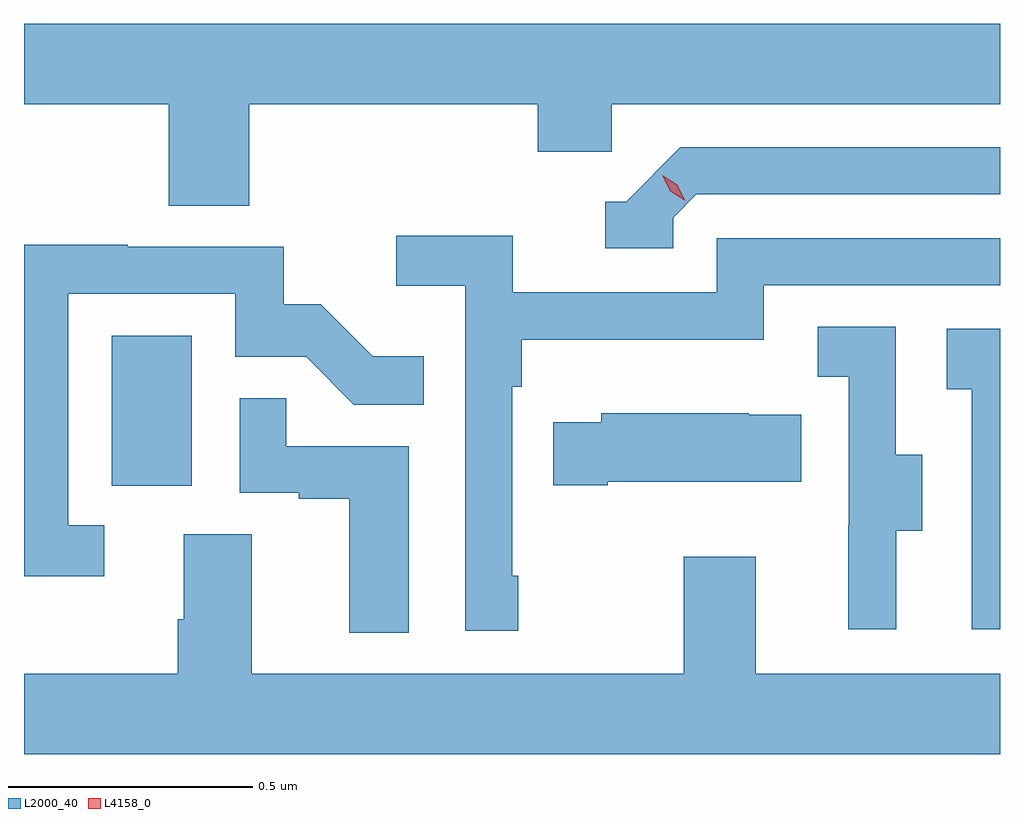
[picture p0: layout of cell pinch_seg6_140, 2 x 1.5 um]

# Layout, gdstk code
import gdstk
lib = gdstk.Library(unit=1e-6, precision=1e-09)
def R(c, l, rs):  # rectangles x0, y0, x1, y1
    for r in rs: c.add(gdstk.rectangle(r[:2], r[2:], *l))
def P(c, l, *ps):  # polygons
    for p in ps: c.add(gdstk.Polygon(p, *l))
L2000_40 = (2000, 40)
L4158_0 = (4158, 0)

pinch_seg6_140 = lib.new_cell('pinch_seg6_140')
R(pinch_seg6_140, L2000_40, [(986.276,918.582,986.44,918.889)])
P(pinch_seg6_140, L2000_40, [(986.558,919.364),(987.149,919.364),(987.149,919.266),(987.3,919.266),(987.3,919.364),(988.096,919.364),(988.096,919.528),(986.096,919.528),(986.096,919.364),(986.393,919.364),(986.393,919.156),(986.558,919.156)],
  [(987.426,919.131),(987.474,919.179),(988.096,919.179),(988.096,919.275),(987.441,919.275),(987.33,919.164),(987.287,919.164),(987.287,919.068),(987.426,919.068)],
  [(987.109,918.397),(987.096,918.397),(987.096,918.785),(987.116,918.785),(987.116,918.881),(987.612,918.881),(987.612,918.993),(988.096,918.993),(988.096,919.089),(987.516,919.089),(987.516,918.978),(987.098,918.978),(987.098,919.094),(986.859,919.094),(986.859,918.992),(987,918.992),(987,918.285),(987.109,918.285)],
  [(986.26,918.501),(986.187,918.501),(986.187,918.975),(986.529,918.975),(986.529,918.846),(986.674,918.846),(986.772,918.748),(986.915,918.748),(986.915,918.847),(986.811,918.847),(986.704,918.954),(986.628,918.954),(986.628,919.071),(986.309,919.071),(986.309,919.076),(986.096,919.076),(986.096,918.396),(986.26,918.396)],
  [(987.883,918.49),(987.937,918.49),(987.937,918.645),(987.882,918.645),(987.882,918.908),(987.723,918.908),(987.723,918.805),(987.786,918.805),(987.786,918.501),(987.785,918.501),(987.785,918.288),(987.883,918.288)],
  [(988.096,918.903),(987.987,918.903),(987.987,918.779),(988.038,918.779),(988.038,918.288),(988.096,918.288)],
  [(986.884,918.663),(986.633,918.663),(986.633,918.761),(986.538,918.761),(986.538,918.567),(986.659,918.567),(986.659,918.555),(986.762,918.555),(986.762,918.281),(986.884,918.281)],
  [(987.292,918.59),(987.689,918.59),(987.689,918.727),(987.581,918.727),(987.581,918.73),(987.279,918.73),(987.279,918.712),(987.181,918.712),(987.181,918.583),(987.292,918.583)],
  [(988.096,918.196),(987.595,918.196),(987.595,918.436),(987.448,918.436),(987.448,918.196),(986.563,918.196),(986.563,918.482),(986.423,918.482),(986.423,918.308),(986.411,918.308),(986.411,918.196),(986.096,918.196),(986.096,918.032),(988.096,918.032)])
P(pinch_seg6_140, L4158_0, [(987.451,919.166),(987.42,919.185),(987.404,919.218),(987.404,919.218),(987.404,919.218),(987.435,919.199),(987.451,919.166),(987.451,919.166)])

lib.write_gds('pinch_seg6_140.gds')
